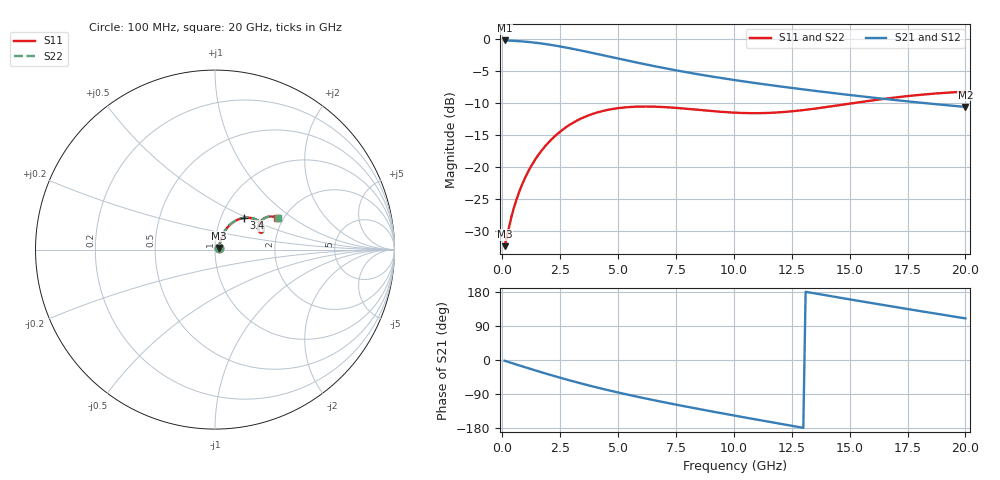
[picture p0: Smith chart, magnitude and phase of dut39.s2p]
! Touchstone file exported from HFSS 2024.1.0
!  File:  C:/UserFiles/LocalFiles/RDL_TSV_Batchsim/temp_RDL_TSV_39_1779404061.aedt
!  Generated:  07:10:40 AM May 22, 2026
!  Design:  RDL_TSV
!  Project:  temp_RDL_TSV_39_1779404061
!  Setup:  Setup1
!  Solution:  Sweep
! Variables:
!  dtsv = 5.66um
!  hbump = 3um
!  htsv = 92.7um
!  ldown = 620.94um
!  lrdl = 429.58um
!  p = 40
!  p1 = 46.07um
!  rhole = 10um
!  subl = 3581.14um
!  t = 450um
!  tdown = 4.18um
!  trdl = 3.28um
!  viad = 10um
!  wdown = 19.71um
!  wrdl = 14.61um
!  xbump = 18um
# GHz S MA R 50.000000
! Terminal data exported
! Port[1] = TM1_1_T1
! Port[2] = TM1_4_T1
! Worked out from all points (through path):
!   200 points, 100 MHz to 20 GHz, reference 50 ohm
!   highest |S21| = -0.20 dB at 100 MHz (marker M1); lowest = -10.6 dB at 20 GHz (marker M2)
!   group delay of S21, straight-line fit = 33.1 ps
!   lowest |S11| = -32.3 dB at 100 MHz (marker M3), VSWR 1.05, Z = 52.3 + j0.889 ohm
!   |S11| at or under -10 dB: start of sweep to 15.13 GHz
!   |S22| runs from -32.3 to -8.2 dB; largest |S21 - S12| = 2.1e-14
!   S11 on the Smith chart (normalised r, x): 100 MHz: 1.05, +0.02; 3.4 GHz: 1.29, +0.48; 20 GHz: 1.86, +0.77
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0.1  0.02421 20.5  0.9773 -2.0  0.9773 -2.0  0.02421 20.5
! Gamma 0 0 0 0
! Port Impedance 50 0 50 0
0.4  0.04146 49.9  0.9726 -7.9  0.9726 -7.9  0.04146 49.9
0.6  0.05508 56.8  0.9681 -11.8  0.9681 -11.8  0.05508 56.8
0.9  0.0765 61.2  0.9596 -17.6  0.9596 -17.6  0.07649 61.3
1.3  0.1059 62.5  0.9444 -25.1  0.9444 -25.1  0.1059 62.5
1.8  0.1423 60.7  0.9197 -34.4  0.9197 -34.4  0.1423 60.8
2.3  0.1769 57.2  0.8902 -43.3  0.8902 -43.3  0.177 57.3
2.8  0.2082 52.9  0.8573 -52.0  0.8573 -52.0  0.2083 53.0
3.4  0.24 47.4  0.8156 -61.8  0.8156 -61.8  0.2402 47.6
3.5  0.2446 46.5  0.8085 -63.4  0.8085 -63.4  0.2448 46.6
4.2  0.271 40.2  0.7595 -74.2  0.7595 -74.2  0.2714 40.4
5.1  0.291 33.1  0.6998 -87.1  0.6998 -87.1  0.2916 33.2
5.9  0.2976 27.9  0.6517 -97.9  0.6517 -97.9  0.2984 28.0
6.8  0.2962 23.5  0.604 -109.3  0.604 -109.3  0.297 23.7
8.4  0.2815 19.9  0.5345 -128.3  0.5345 -128.3  0.2825 20.0
10.1  0.2665 21.5  0.4775 -147.5  0.4775 -147.5  0.2677 21.6
11.7  0.2666 26.0  0.4348 -165.0  0.4348 -165.0  0.2679 26.1
13.4  0.2853 30.5  0.397 176.8  0.397 176.8  0.2865 30.5
15.1  0.3157 32.4  0.3648 159.0  0.3648 159.0  0.317 32.4
16.7  0.3459 31.8  0.3387 142.6  0.3387 142.6  0.3471 31.8
18.3  0.3712 29.7  0.3162 126.5  0.3162 126.5  0.3725 29.7
20  0.3896 26.8  0.2959 109.8  0.2959 109.8  0.391 26.8
